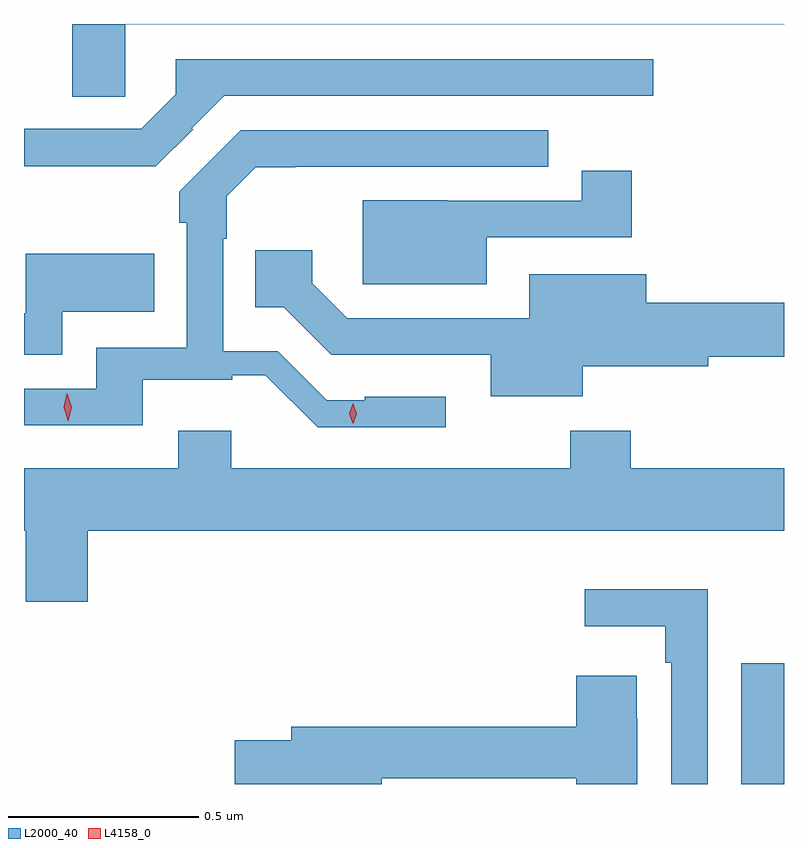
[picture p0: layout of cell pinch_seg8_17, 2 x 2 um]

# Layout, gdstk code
import gdstk
lib = gdstk.Library(unit=1e-6, precision=1e-09)
def R(c, l, rs):  # rectangles x0, y0, x1, y1
    for r in rs: c.add(gdstk.rectangle(r[:2], r[2:], *l))
def P(c, l, *ps):  # polygons
    for p in ps: c.add(gdstk.Polygon(p, *l))
L2000_40 = (2000, 40)
L4158_0 = (4158, 0)

pinch_seg8_17 = lib.new_cell('pinch_seg8_17')
R(pinch_seg8_17, L2000_40, [(1030.028,1157.125,1030.14,1157.443)])
P(pinch_seg8_17, L2000_40, [(1028.406,1159.124),(1030.14,1159.124),(1030.14,1159.125),(1028.14,1159.125),(1028.14,1159.124),(1028.267,1159.124),(1028.267,1158.934),(1028.406,1158.934)],
  [(1028.585,1158.848),(1028.582,1158.851),(1028.667,1158.936),(1029.796,1158.936),(1029.796,1159.032),(1028.539,1159.032),(1028.539,1158.94),(1028.448,1158.849),(1028.14,1158.849),(1028.14,1158.751),(1028.487,1158.751)],
  [(1029.25,1158.144),(1029.037,1158.144),(1029.037,1158.135),(1028.937,1158.135),(1028.808,1158.264),(1028.664,1158.264),(1028.664,1158.56),(1028.674,1158.56),(1028.674,1158.672),(1028.75,1158.748),(1028.854,1158.748),(1028.854,1158.75),(1029.52,1158.75),(1029.52,1158.846),(1028.711,1158.846),(1028.548,1158.683),(1028.548,1158.602),(1028.568,1158.602),(1028.568,1158.273),(1028.33,1158.273),(1028.33,1158.165),(1028.14,1158.165),(1028.14,1158.069),(1028.452,1158.069),(1028.452,1158.189),(1028.688,1158.189),(1028.688,1158.201),(1028.775,1158.201),(1028.913,1158.064),(1029.25,1158.064)],
  [(1029.358,1158.564),(1029.739,1158.564),(1029.739,1158.739),(1029.608,1158.739),(1029.608,1158.66),(1029.254,1158.66),(1029.254,1158.661),(1029.032,1158.661),(1029.032,1158.44),(1029.358,1158.44)],
  [(1029.61,1158.224),(1029.94,1158.224),(1029.94,1158.25),(1030.14,1158.25),(1030.14,1158.392),(1029.778,1158.392),(1029.778,1158.466),(1029.47,1158.466),(1029.47,1158.351),(1028.991,1158.351),(1028.899,1158.443),(1028.899,1158.529),(1028.749,1158.529),(1028.749,1158.38),(1028.824,1158.38),(1028.949,1158.255),(1029.368,1158.255),(1029.368,1158.146),(1029.61,1158.146)],
  [(1028.241,1158.368),(1028.483,1158.368),(1028.483,1158.52),(1028.145,1158.52),(1028.145,1158.364),(1028.14,1158.364),(1028.14,1158.255),(1028.241,1158.255)],
  [(1028.308,1157.792),(1030.14,1157.792),(1030.14,1157.956),(1029.737,1157.956),(1029.737,1158.055),(1029.577,1158.055),(1029.577,1157.956),(1028.686,1157.956),(1028.686,1158.055),(1028.546,1158.055),(1028.546,1157.956),(1028.14,1157.956),(1028.14,1157.792),(1028.144,1157.792),(1028.144,1157.604),(1028.308,1157.604)],
  [(1029.939,1157.638),(1029.615,1157.638),(1029.615,1157.54),(1029.827,1157.54),(1029.827,1157.444),(1029.843,1157.444),(1029.843,1157.125),(1029.939,1157.125)],
  [(1029.082,1157.14),(1029.593,1157.14),(1029.593,1157.125),(1029.754,1157.125),(1029.754,1157.297),(1029.753,1157.297),(1029.753,1157.41),(1029.593,1157.41),(1029.593,1157.276),(1028.843,1157.276),(1028.843,1157.24),(1028.694,1157.24),(1028.694,1157.125),(1029.082,1157.125)])
P(pinch_seg8_17, L4158_0, [(1029.005,1158.075),(1028.996,1158.1),(1029.005,1158.126),(1029.006,1158.126),(1029.006,1158.126),(1029.016,1158.1),(1029.006,1158.075),(1029.006,1158.075)],
  [(1028.256,1158.08),(1028.256,1158.08),(1028.245,1158.116),(1028.253,1158.152),(1028.254,1158.152),(1028.254,1158.152),(1028.265,1158.116),(1028.256,1158.08)])

lib.write_gds('pinch_seg8_17.gds')
